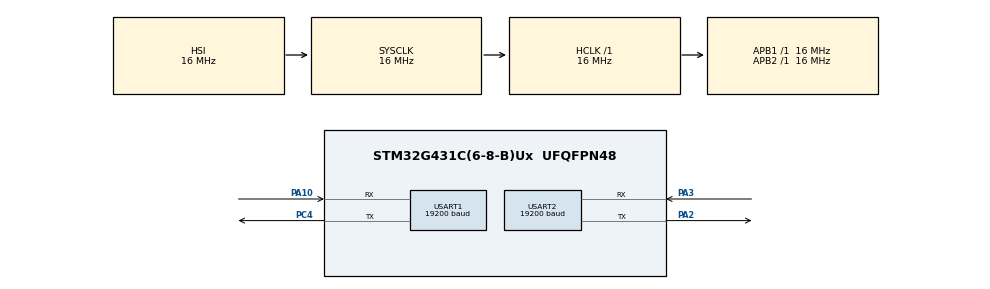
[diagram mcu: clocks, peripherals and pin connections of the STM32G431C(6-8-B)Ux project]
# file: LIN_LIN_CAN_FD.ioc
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Mcu.Family=STM32G4
Mcu.Name=STM32G431C(6-8-B)Ux
Mcu.Package=UFQFPN48
NVIC.PriorityGroup=NVIC_PRIORITYGROUP_4
NVIC.USART1_IRQn=true\:0\:0\:false\:false\:true\:true\:true\:true
NVIC.USART2_IRQn=true\:0\:0\:false\:false\:true\:true\:true\:true
PA10.Mode=LIN
PA10.Signal=USART1_RX
PA13.Mode=Serial_Wire
PA13.Signal=SYS_JTMS-SWDIO
PA14.Mode=Serial_Wire
PA14.Signal=SYS_JTCK-SWCLK
PA2.GPIO_PuPd=GPIO_NOPULL
PA2.Mode=LIN
PA2.Signal=USART2_TX
PA3.GPIO_PuPd=GPIO_PULLUP
PA3.Mode=LIN
PA3.Signal=USART2_RX
PC4.Mode=LIN
PC4.Signal=USART1_TX
PF0-OSC_IN.Mode=HSE-External-Oscillator
PF0-OSC_IN.Signal=RCC_OSC_IN
PF1-OSC_OUT.Mode=HSE-External-Oscillator
PF1-OSC_OUT.Signal=RCC_OSC_OUT
ProjectManager.HeapSize=0x200
ProjectManager.StackSize=0x400
ProjectManager.TargetToolchain=STM32CubeIDE
RCC.AHBFreq_Value=16000000
RCC.APB1Freq_Value=16000000
RCC.APB1TimFreq_Value=16000000
RCC.APB2Freq_Value=16000000
RCC.APB2TimFreq_Value=16000000
RCC.CortexFreq_Value=16000000
RCC.EXTERNAL_CLOCK_VALUE=12288000
RCC.HCLKFreq_Value=16000000
RCC.HSE_VALUE=8000000
RCC.HSI48_VALUE=48000000
RCC.HSI_VALUE=16000000
RCC.LSE_VALUE=32768
RCC.SYSCLKFreq_VALUE=16000000
RCC.USBFreq_Value=64000000
RCC.VCOOutputFreq_Value=128000000
USART1.BaudRate=19200
USART1.BreakDetectLength=UART_LINBREAKDETECTLENGTH_10B
USART1.VirtualMode-LIN=VM_LIN
USART2.BaudRate=19200
USART2.BreakDetectLength=UART_LINBREAKDETECTLENGTH_11B
USART2.VirtualMode-LIN=VM_LIN
VP_SYS_VS_DBSignals.Mode=DisableDeadBatterySignals
board=custom

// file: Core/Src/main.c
/* USER CODE BEGIN Header */
/**
  ******************************************************************************
  * @file           : main.c
  * @brief          : Main program body
  ******************************************************************************
  * @attention
  *
  * Copyright (c) 2025 STMicroelectronics.
  * All rights reserved.
  *
  * This software is licensed under terms that can be found in the LICENSE file
  * in the root directory of this software component.
  * If no LICENSE file comes with this software, it is provided AS-IS.
  *
  ******************************************************************************
  */
/* USER CODE END Header */
#include "main.h"

UART_HandleTypeDef huart1;
UART_HandleTypeDef huart2;

/* USER CODE BEGIN PV */

uint8_t ID_LIN = 0x34;
uint8_t ID_pid = 0;
uint8_t buff_data[8];
uint8_t leng_buff_data = 0;
/* USER CODE END PV */

void SystemClock_Config(void);
static void MX_GPIO_Init(void);
static void MX_USART1_UART_Init(void);
static void MX_USART2_UART_Init(void);

/* USER CODE BEGIN 0 */

uint8_t pid_Calc(uint8_t ID){
  if(ID >= 0x3F) return 0xFF;

  uint8_t ID_bit[6];
  for(uint8_t i = 0; i < 6; i++){
    ID_bit[i] = (ID >> i) & 0x01;
  }

  uint8_t P0 = (ID_bit[0] ^  ID_bit[1] ^  ID_bit[2] ^  ID_bit[4]) & 0x01;
  uint8_t P1 = (~(ID_bit[1] ^  ID_bit[3] ^  ID_bit[4] ^  ID_bit[5])) & 0x01;

  ID = ID | (P0 << 6)  | (P1 << 7);

  return ID;
}

uint8_t ID_Decode(uint8_t ID_pid){
    return ID_pid &= 0x3F;
}

uint8_t CheckSum_Calc(uint8_t PID, uint8_t *data, uint8_t size){
  uint16_t Sum = PID;

  for(uint8_t i = 0; i < size; i++){
    Sum += data[i];
    if(Sum > 0xFF ){
      Sum = (Sum & 0xFF) + 1;
    }
  }
  Sum = 0xFF - Sum;
  return Sum;
}

void LIN_Master_Request(UART_HandleTypeDef *huart_LIN, uint8_t ID, uint8_t *buff, uint8_t size){
  uint8_t Buff_tx[size + 2];  Buff_tx[0] = 0x55;
  Buff_tx[1] = pid_Calc(ID);
  ID_pid = Buff_tx[1];
  for(uint8_t i = 2; i < 2+ size; i++){
    Buff_tx[i] = buff[i-2];
  }
  Buff_tx[size+2] = CheckSum_Calc(ID_pid, buff, size);
  int a = 3;
  if(size == 0){a = 2;}
  HAL_LIN_SendBreak(huart_LIN);
  HAL_UART_Transmit(huart_LIN, Buff_tx, size + a, 10);

}

//=================== RX mode ======================//
uint8_t RxData[20];
uint8_t RxData_rec[8];
uint8_t Sts_LIN = 0;
uint8_t Size_Rx = 8;

uint8_t size_respond = 8;
uint8_t buff_feedback[8];

uint8_t flag_respond = 0;

uint8_t CheckSum_Rx = 0;

uint8_t LIN_Slave_Check_Request(uint8_t ID, uint8_t size){
	if(RxData[0] == 0x00 && RxData[1] == 0x55 && RxData[2] == pid_Calc(ID_LIN)){
		for(uint8_t i = 0; i< size; i++){
			RxData_rec[i] = RxData[i + 3];
			RxData[i+3] = 0;
		}
		RxData[1] = 0;
		RxData[2] = 0;
		if(RxData[size + 3] == CheckSum_Calc(pid_Calc(ID), RxData_rec, size)){
		  return 1;
		}else{
		  return 2; //Trạng thái đúng nhưng check sum sai
		}
	}else{
    return 0; // data lỗi.
  }
}

uint8_t  LIN_Slave_Respond(UART_HandleTypeDef *huart_LIN, uint8_t ID, uint8_t size, uint8_t *buff_feedback){
	uint8_t buff_respond[size + 1];
    uint8_t Sts_LIN_in = LIN_Slave_Check_Request(ID_LIN, Size_Rx);

	if(Sts_LIN_in == 2){
		for(uint8_t i = 0; i < size ; i++){
			buff_respond[i] = buff_feedback[i];
		}
		buff_respond[size] = CheckSum_Calc(pid_Calc(ID), buff_feedback, size);
		HAL_UART_Transmit(huart_LIN, buff_respond, size + 1 , 10);
		return 2;
	}else{
		return Sts_LIN_in;
	}
}

/* USER CODE END 0 */

int main(void)
{

  /* USER CODE BEGIN 1 */
  // Hung

  /* USER CODE END 1 */

  /* MCU Configuration--------------------------------------------------------*/

  /* Reset of all peripherals, Initializes the Flash interface and the Systick. */
  HAL_Init();

  /* Configure the system clock */
  SystemClock_Config();

  /* Initialize all configured peripherals */
  MX_GPIO_Init();
  MX_USART1_UART_Init();
  MX_USART2_UART_Init();
  /* USER CODE BEGIN 2 */
  //HAL_LIN_Init(&huart1, 13);

  HAL_UARTEx_ReceiveToIdle_IT(&huart2, RxData, 20);

  /* USER CODE END 2 */

  /* Infinite loop */
  while (1)
  {

    /* USER CODE BEGIN 3 */
    LIN_Master_Request(&huart1, ID_LIN, buff_data, leng_buff_data);
    HAL_Delay(200);
  }
  /* USER CODE END 3 */
}

void SystemClock_Config(void)
{
  RCC_OscInitTypeDef RCC_OscInitStruct = {0};
  RCC_ClkInitTypeDef RCC_ClkInitStruct = {0};

  /** Configure the main internal regulator output voltage
  */
  HAL_PWREx_ControlVoltageScaling(PWR_REGULATOR_VOLTAGE_SCALE1);

  /** Initializes the RCC Oscillators according to the specified parameters
  * in the RCC_OscInitTypeDef structure.
  */
  RCC_OscInitStruct.OscillatorType = RCC_OSCILLATORTYPE_HSI;
  RCC_OscInitStruct.HSIState = RCC_HSI_ON;
  RCC_OscInitStruct.HSICalibrationValue = RCC_HSICALIBRATION_DEFAULT;
  RCC_OscInitStruct.PLL.PLLState = RCC_PLL_NONE;
  if (HAL_RCC_OscConfig(&RCC_OscInitStruct) != HAL_OK)
  {
    Error_Handler();
  }

  /** Initializes the CPU, AHB and APB buses clocks
  */
  RCC_ClkInitStruct.ClockType = RCC_CLOCKTYPE_HCLK|RCC_CLOCKTYPE_SYSCLK
                              |RCC_CLOCKTYPE_PCLK1|RCC_CLOCKTYPE_PCLK2;
  RCC_ClkInitStruct.SYSCLKSource = RCC_SYSCLKSOURCE_HSI;
  RCC_ClkInitStruct.AHBCLKDivider = RCC_SYSCLK_DIV1;
  RCC_ClkInitStruct.APB1CLKDivider = RCC_HCLK_DIV1;
  RCC_ClkInitStruct.APB2CLKDivider = RCC_HCLK_DIV1;

  if (HAL_RCC_ClockConfig(&RCC_ClkInitStruct, FLASH_LATENCY_0) != HAL_OK)
  {
    Error_Handler();
  }
}

static void MX_USART1_UART_Init(void)
{

  huart1.Instance = USART1;
  huart1.Init.BaudRate = 19200;
  huart1.Init.WordLength = UART_WORDLENGTH_8B;
  huart1.Init.StopBits = UART_STOPBITS_1;
  huart1.Init.Parity = UART_PARITY_NONE;
  huart1.Init.Mode = UART_MODE_TX_RX;
  huart1.Init.HwFlowCtl = UART_HWCONTROL_NONE;
  huart1.Init.OverSampling = UART_OVERSAMPLING_16;
  huart1.Init.OneBitSampling = UART_ONE_BIT_SAMPLE_DISABLE;
  huart1.Init.ClockPrescaler = UART_PRESCALER_DIV1;
  huart1.AdvancedInit.AdvFeatureInit = UART_ADVFEATURE_NO_INIT;
  if (HAL_LIN_Init(&huart1, UART_LINBREAKDETECTLENGTH_10B) != HAL_OK)
  {
    Error_Handler();
  }
  if (HAL_UARTEx_SetTxFifoThreshold(&huart1, UART_TXFIFO_THRESHOLD_1_8) != HAL_OK)
  {
    Error_Handler();
  }
  if (HAL_UARTEx_SetRxFifoThreshold(&huart1, UART_RXFIFO_THRESHOLD_1_8) != HAL_OK)
  {
    Error_Handler();
  }
  if (HAL_UARTEx_DisableFifoMode(&huart1) != HAL_OK)
  {
    Error_Handler();
  }

}

static void MX_USART2_UART_Init(void)
{

  huart2.Instance = USART2;
  huart2.Init.BaudRate = 19200;
  huart2.Init.WordLength = UART_WORDLENGTH_8B;
  huart2.Init.StopBits = UART_STOPBITS_1;
  huart2.Init.Parity = UART_PARITY_NONE;
  huart2.Init.Mode = UART_MODE_TX_RX;
  huart2.Init.HwFlowCtl = UART_HWCONTROL_NONE;
  huart2.Init.OverSampling = UART_OVERSAMPLING_16;
  huart2.Init.OneBitSampling = UART_ONE_BIT_SAMPLE_DISABLE;
  huart2.Init.ClockPrescaler = UART_PRESCALER_DIV1;
  huart2.AdvancedInit.AdvFeatureInit = UART_ADVFEATURE_NO_INIT;
  if (HAL_LIN_Init(&huart2, UART_LINBREAKDETECTLENGTH_11B) != HAL_OK)
  {
    Error_Handler();
  }
  if (HAL_UARTEx_SetTxFifoThreshold(&huart2, UART_TXFIFO_THRESHOLD_1_8) != HAL_OK)
  {
    Error_Handler();
  }
  if (HAL_UARTEx_SetRxFifoThreshold(&huart2, UART_RXFIFO_THRESHOLD_1_8) != HAL_OK)
  {
    Error_Handler();
  }
  if (HAL_UARTEx_DisableFifoMode(&huart2) != HAL_OK)
  {
    Error_Handler();
  }

}

static void MX_GPIO_Init(void)
{

  /* GPIO Ports Clock Enable */
  __HAL_RCC_GPIOF_CLK_ENABLE();
  __HAL_RCC_GPIOA_CLK_ENABLE();
  __HAL_RCC_GPIOC_CLK_ENABLE();

}

/* USER CODE BEGIN 4 */

//  Lin Slave mode // Config // use LIN protocol
void HAL_UARTEx_RxEventCallback(UART_HandleTypeDef *huart, uint16_t Size)
{
  HAL_UARTEx_ReceiveToIdle_IT(&huart2, RxData, 20);

  Sts_LIN = LIN_Slave_Respond(&huart2,ID_LIN, size_respond, buff_feedback);

}

/* USER CODE END 4 */

void Error_Handler(void)
{
  __disable_irq();
  while (1)
  {
  }
}
